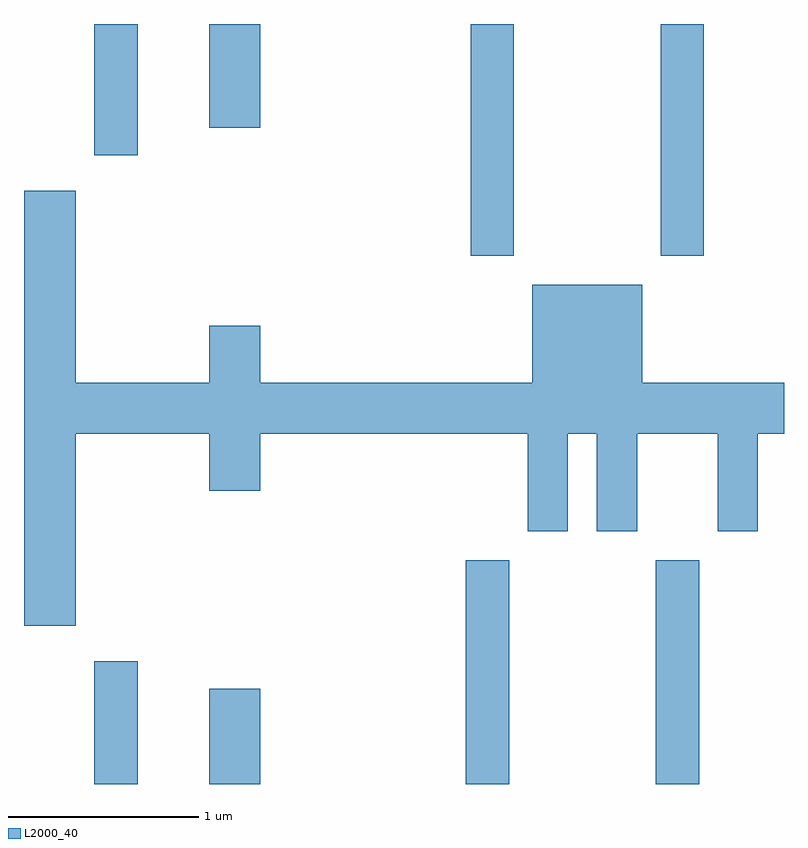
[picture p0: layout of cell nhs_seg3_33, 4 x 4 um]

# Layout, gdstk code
import gdstk
lib = gdstk.Library(unit=1e-6, precision=1e-09)
def R(c, l, rs):  # rectangles x0, y0, x1, y1
    for r in rs: c.add(gdstk.rectangle(r[:2], r[2:], *l))
def P(c, l, *ps):  # polygons
    for p in ps: c.add(gdstk.Polygon(p, *l))
L2000_40 = (2000, 40)

nhs_seg3_33 = lib.new_cell('nhs_seg3_33')
R(nhs_seg3_33, L2000_40, [(185.981,1181.892,186.209,1182.539), (186.586,1181.892,186.854,1182.394), (187.936,1181.892,188.164,1183.069), (188.936,1181.892,189.164,1183.069), (187.961,1184.671,188.189,1185.892), (188.961,1184.671,189.189,1185.892), (185.981,1185.201,186.209,1185.892), (186.586,1185.346,186.854,1185.892)])
P(nhs_seg3_33, L2000_40, [(185.884,1183.736),(186.586,1183.736),(186.586,1183.436),(186.854,1183.436),(186.854,1183.736),(188.261,1183.736),(188.261,1183.221),(188.474,1183.221),(188.474,1183.736),(188.626,1183.736),(188.626,1183.221),(188.839,1183.221),(188.839,1183.736),(189.261,1183.736),(189.261,1183.221),(189.474,1183.221),(189.474,1183.736),(189.611,1183.736),(189.611,1184.004),(188.864,1184.004),(188.864,1184.519),(188.286,1184.519),(188.286,1184.004),(186.854,1184.004),(186.854,1184.304),(186.586,1184.304),(186.586,1184.004),(185.884,1184.004),(185.884,1185.014),(185.611,1185.014),(185.611,1182.726),(185.884,1182.726)])

lib.write_gds('nhs_seg3_33.gds')
